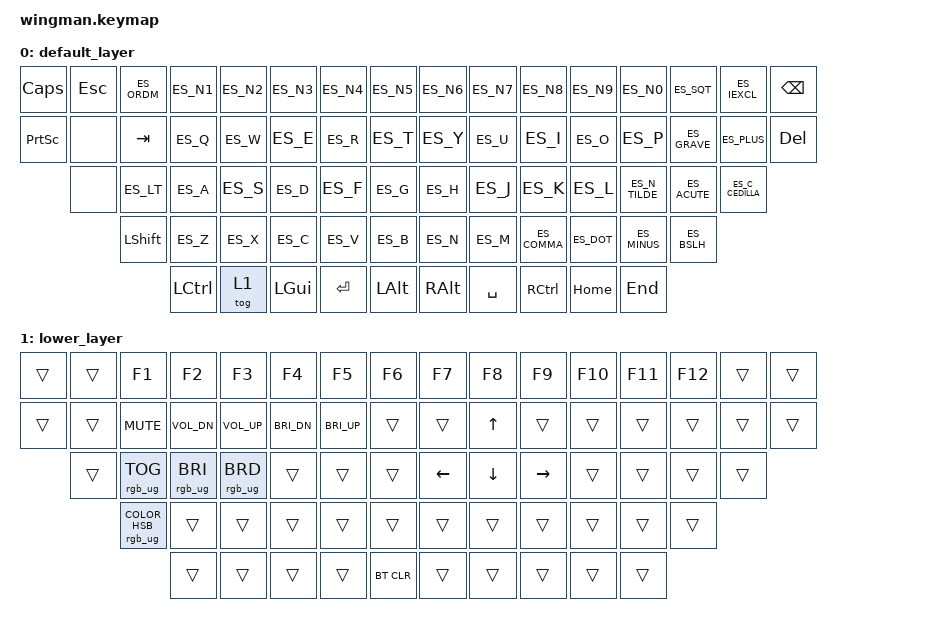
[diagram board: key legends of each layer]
/*
 * Copyright (c) 2020 The ZMK Contributors
 *
 * SPDX-License-Identifier: MIT
 */

#include <locale/keys_es.h>
#include <behaviors.dtsi>
#include <dt-bindings/zmk/keys.h>
#include <dt-bindings/zmk/bt.h>
#include <dt-bindings/zmk/rgb.h>

/ {
        keymap {
                compatible = "zmk,keymap";

                default_layer {
// -----------------------------------------------------------------------------------------
// | CAPS |  ESC |  º   |  1  |  2  |  3  |  4  |  5  |             |  6  |  7   |  8  |  9  |  0  |  '  |  ¡  | BSPC |
// |  SS  | NONE | TAB  |  Q  |  W  |  E  |  R  |  T  |             |  Y  |  U   |  I  |  O  |  P  |  `  |  +  | DEL  |
//        | NONE | <    |  A  |  S  |  D  |  F  |  G  |             |  H  |  J   |  K  |  L  |  Ñ  |  ´  |  Ç  |
//               | SHFT |  Z  |  X  |  C  |  V  |  B  |             |  N  |  M   |  ,  |  .  |  -  |  \  |
//                      | CTRL| LWR | GUI | ENT | ALT |             | ALT | SPC  | CTRL| HOME| END |
                        bindings = <
&kp CAPS           &kp ESC      &kp ES_ORDM   &kp ES_N1   &kp ES_N2   &kp ES_N3   &kp ES_N4   &kp ES_N5         &kp ES_N6   &kp ES_N7   &kp ES_N8      &kp ES_N9    &kp ES_N0      &kp ES_SQT    &kp ES_IEXCL    &kp BSPC
&kp PRINTSCREEN    &none        &kp TAB       &kp ES_Q    &kp ES_W    &kp ES_E    &kp ES_R    &kp ES_T          &kp ES_Y    &kp ES_U    &kp ES_I       &kp ES_O     &kp ES_P       &kp ES_GRAVE  &kp ES_PLUS     &kp DEL
                   &none        &kp ES_LT     &kp ES_A    &kp ES_S    &kp ES_D    &kp ES_F    &kp ES_G          &kp ES_H    &kp ES_J    &kp ES_K       &kp ES_L     &kp ES_N_TILDE &kp ES_ACUTE  &kp ES_C_CEDILLA
                                &kp LSHFT     &kp ES_Z    &kp ES_X    &kp ES_C    &kp ES_V    &kp ES_B          &kp ES_N    &kp ES_M    &kp ES_COMMA   &kp ES_DOT   &kp ES_MINUS   &kp ES_BSLH
                                              &kp LCTRL   &tog 1      &kp LGUI    &kp RET     &kp LALT          &kp RALT    &kp SPACE   &kp RCTRL      &kp HOME     &kp END
                        >;
                };
                lower_layer {
// -----------------------------------------------------------------------------------------
// |    |      | F1   | F2   | F3   |  F4   |  F5   | F6 |           | F7  | F8  | F9  | F10 | F11 | F12 |     |      |
// |    |      | MUTE | VOL- | VOL+ | BRHT- | BRHT+ |    |           |     | UP  |     |     |     |     |     |      |
//      |      | RGBT | BL+  | BL-  |       |       |    |           | LEFT|DOWN |RIGHT|     |     |     |     |
//             |      |      |      |       |       |    |           |     |     |     |     |     |     |
//                    |      |      |       |       |    |           |     |     |     |     |     |
                        bindings = <
   &trans     &trans     &kp F1           &kp F2            &kp F3           &kp F4            &kp F5        &kp F6         &kp F7    &kp F8    &kp F9     &kp F10   &kp F11   &kp F12   &trans  &trans
   &trans     &trans     &kp C_MUTE       &kp C_VOL_DN      &kp C_VOL_UP     &kp C_BRI_DN      &kp C_BRI_UP  &trans         &trans    &kp UP    &trans     &trans    &trans    &trans    &trans  &trans
              &trans     &rgb_ug RGB_TOG  &rgb_ug RGB_BRI   &rgb_ug RGB_BRD  &trans            &trans        &trans         &kp LEFT  &kp DOWN  &kp RIGHT  &trans    &trans    &trans    &trans
                         &rgb_ug RGB_COLOR_HSB(100,100,100)           &trans            &trans           &trans            &trans        &trans         &trans    &trans    &trans     &trans    &trans    &trans
                                          &trans            &trans           &trans            &trans        &bt BT_CLR         &trans    &trans    &trans     &trans    &trans
                        >;
                };
        };
};
